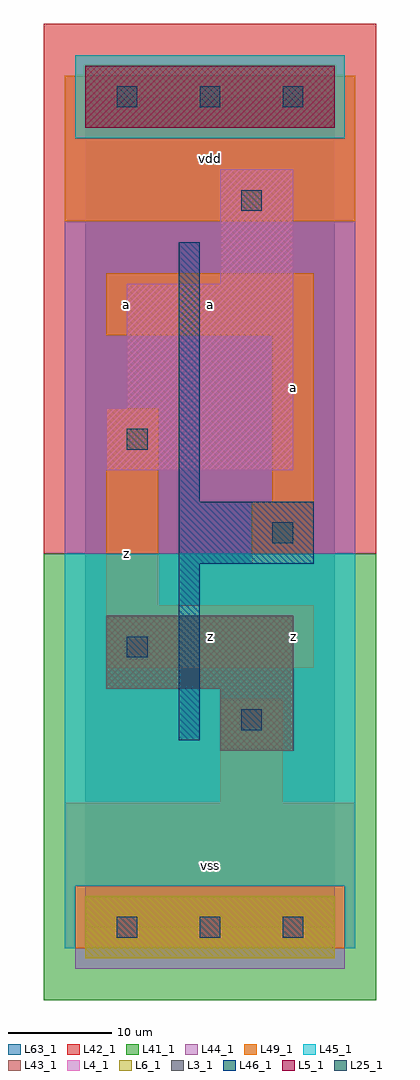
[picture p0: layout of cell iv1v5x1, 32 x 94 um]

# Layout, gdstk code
import gdstk
lib = gdstk.Library(unit=1e-6, precision=1e-09)
def R(c, l, rs):  # rectangles x0, y0, x1, y1
    for r in rs: c.add(gdstk.rectangle(r[:2], r[2:], *l))
def A(c, l, x, y, w, h, nx, ny, dx, dy):  # array of equal rectangles
    R(c, l, [(x+i*dx, y+j*dy, x+i*dx+w, y+j*dy+h) for i in range(nx) for j in range(ny)])
L3_1 = (3, 1)
L4_1 = (4, 1)
L5_1 = (5, 1)
L6_1 = (6, 1)
L25_1 = (25, 1)
L41_1 = (41, 1)
L42_1 = (42, 1)
L43_1 = (43, 1)
L44_1 = (44, 1)
L45_1 = (45, 1)
L46_1 = (46, 1)
L49_1 = (49, 1)
L63_1 = (63, 1)

iv1v5x1 = lib.new_cell('iv1v5x1')
R(iv1v5x1, L3_1, [(13,17,20,23), (2,23,20,30)])
R(iv1v5x1, L4_1, [(2,44,20,50), (4,50,20,62), (13,62,20,73)])
R(iv1v5x1, L5_1, [(0,77,24,83)])
R(iv1v5x1, L6_1, [(0,-3,24,3), (0,-3,24,3)])
A(iv1v5x1, L25_1, 3, -1, 2, 2, 3, 2, 8, 80)
R(iv1v5x1, L25_1, [(15,19,17,21), (4,26,6,28), (18,37,20,39), (4,46,6,48), (15,69,17,71)])
R(iv1v5x1, L41_1, [(-4,-7,28,36)])
R(iv1v5x1, L42_1, [(-4,36,28,87)])
R(iv1v5x1, L43_1, [(0,-3,24,3), (13,17,20,23), (2,23,20,30), (2,44,20,50), (4,50,20,62), (13,62,20,73), (0,77,24,83)])
R(iv1v5x1, L44_1, [(-1,-4,25,4), (-2,36,26,76), (-2,76,-1,82), (25,76,26,82)])
R(iv1v5x1, L45_1, [(-2,-2,-1,4), (25,-2,26,4), (-2,4,26,36), (-1,76,25,84)])
R(iv1v5x1, L46_1, [(9,18,11,35), (9,35,22,41), (9,41,11,66)])
R(iv1v5x1, L49_1, [(-2,-2,26,12), (13,12,19,22), (2,25,22,31), (2,31,7,50), (16,35,22,41), (18,41,22,57), (2,57,22,63), (-2,68,26,82)])
R(iv1v5x1, L63_1, [(0,0,24,80)])
iv1v5x1.add(gdstk.Label('z', (4,36), layer=49, texttype=1))
iv1v5x1.add(gdstk.Label('a', (4,60), layer=49, texttype=1))
iv1v5x1.add(gdstk.Label('vss', (12,6), layer=49, texttype=1))
iv1v5x1.add(gdstk.Label('z', (12,28), layer=49, texttype=1))
iv1v5x1.add(gdstk.Label('a', (12,60), layer=49, texttype=1))
iv1v5x1.add(gdstk.Label('vdd', (12,74), layer=49, texttype=1))
iv1v5x1.add(gdstk.Label('z', (20,28), layer=49, texttype=1))
iv1v5x1.add(gdstk.Label('a', (20,52), layer=49, texttype=1))

lib.write_gds('iv1v5x1.gds')
